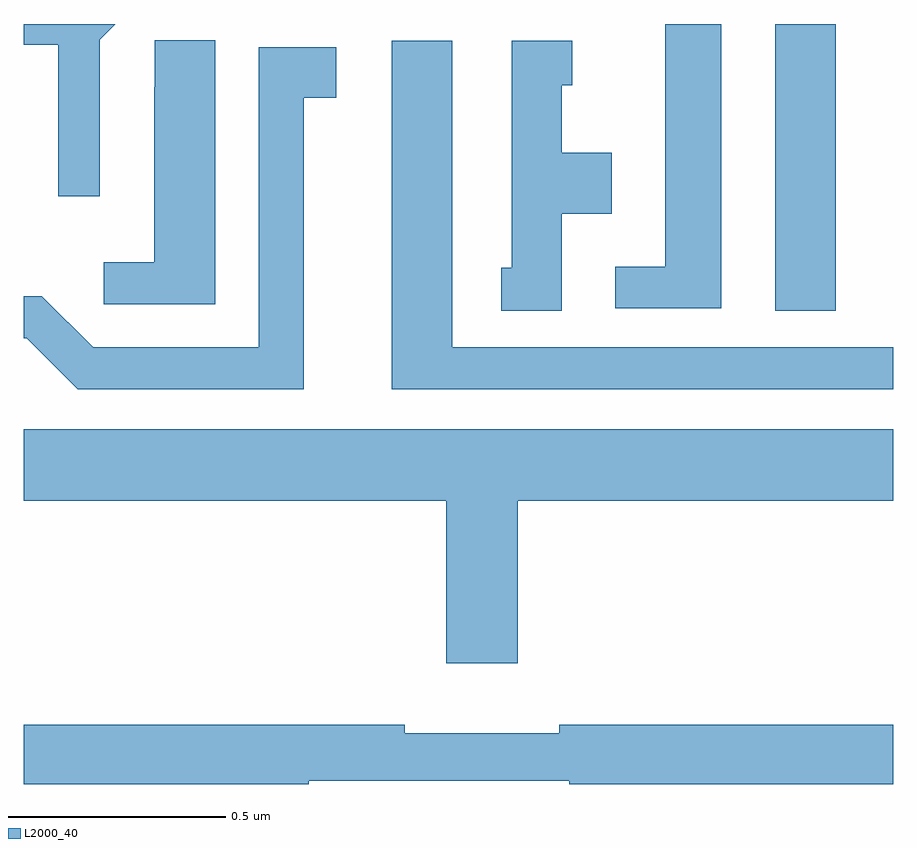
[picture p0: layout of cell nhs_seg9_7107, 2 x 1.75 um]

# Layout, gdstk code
import gdstk
lib = gdstk.Library(unit=1e-6, precision=1e-09)
def R(c, l, rs):  # rectangles x0, y0, x1, y1
    for r in rs: c.add(gdstk.rectangle(r[:2], r[2:], *l))
def P(c, l, *ps):  # polygons
    for p in ps: c.add(gdstk.Polygon(p, *l))
L2000_40 = (2000, 40)

nhs_seg9_7107 = lib.new_cell('nhs_seg9_7107')
R(nhs_seg9_7107, L2000_40, [(201.728,1212.841,201.868,1213.5)])
P(nhs_seg9_7107, L2000_40, [(200.175,1213.464),(200.211,1213.5),(200,1213.5),(200,1213.452),(200.079,1213.452),(200.079,1213.104),(200.175,1213.104)],
  [(201.604,1213.5),(201.476,1213.5),(201.476,1212.942),(201.36,1212.942),(201.36,1212.846),(201.604,1212.846)],
  [(200.44,1213.463),(200.301,1213.463),(200.301,1213.355),(200.3,1213.355),(200.3,1212.952),(200.184,1212.952),(200.184,1212.855),(200.44,1212.855)],
  [(202,1212.756),(200.986,1212.756),(200.986,1213.462),(200.846,1213.462),(200.846,1212.66),(202,1212.66)],
  [(201.238,1213.064),(201.352,1213.064),(201.352,1213.204),(201.238,1213.204),(201.238,1213.359),(201.262,1213.359),(201.262,1213.462),(201.122,1213.462),(201.122,1212.939),(201.098,1212.939),(201.098,1212.841),(201.238,1212.841)],
  [(200.644,1213.33),(200.719,1213.33),(200.719,1213.446),(200.54,1213.446),(200.54,1212.756),(200.16,1212.756),(200.042,1212.874),(200,1212.874),(200,1212.777),(200.007,1212.777),(200.124,1212.66),(200.644,1212.66)],
  [(201.136,1212.404),(202,1212.404),(202,1212.568),(200,1212.568),(200,1212.404),(200.972,1212.404),(200.972,1212.03),(201.136,1212.03)],
  [(200.655,1211.76),(201.255,1211.76),(201.255,1211.752),(202,1211.752),(202,1211.888),(201.232,1211.888),(201.232,1211.869),(200.876,1211.869),(200.876,1211.888),(200,1211.888),(200,1211.752),(200.655,1211.752)])

lib.write_gds('nhs_seg9_7107.gds')
